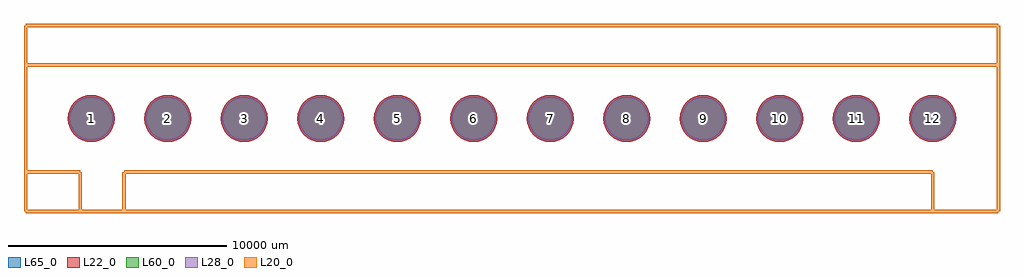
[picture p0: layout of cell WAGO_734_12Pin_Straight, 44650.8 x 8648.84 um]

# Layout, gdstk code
import gdstk
lib = gdstk.Library(unit=1e-6, precision=1e-09)
def P(c, l, *ps):  # polygons
    for p in ps: c.add(gdstk.Polygon(p, *l))
L20_0 = (20, 0)
L22_0 = (22, 0)
L28_0 = (28, 0)
L60_0 = (60, 0)
L65_0 = (65, 0)

wago_734_12pin_straight = lib.new_cell('WAGO_734_12Pin_Straight')
P(wago_734_12pin_straight, L22_0, [(20325.15,0),(20304.504,209.623),(20243.359,411.19),(20144.066,596.955),(20010.439,759.779),(19847.615,893.406),(19661.85,992.699),(19460.283,1053.844),(19250.66,1074.49),(19041.037,1053.844),(18839.47,992.699),(18653.705,893.406),(18490.881,759.779),(18357.254,596.955),(18257.961,411.19),(18196.816,209.623),(18176.17,0),(18196.816,-209.623),(18257.961,-411.19),(18357.254,-596.955),(18490.881,-759.779),(18653.705,-893.406),(18839.47,-992.699),(19041.037,-1053.844),(19250.66,-1074.49),(19460.283,-1053.844),(19661.85,-992.699),(19847.615,-893.406),(20010.439,-759.779),(20144.066,-596.955),(20243.359,-411.19),(20304.504,-209.623)],
  [(-18176.17,0),(-18196.816,209.623),(-18257.961,411.19),(-18357.254,596.955),(-18490.881,759.779),(-18653.705,893.406),(-18839.47,992.699),(-19041.037,1053.844),(-19250.66,1074.49),(-19460.283,1053.844),(-19661.85,992.699),(-19847.615,893.406),(-20010.439,759.779),(-20144.066,596.955),(-20243.359,411.19),(-20304.504,209.623),(-20325.15,0),(-20304.504,-209.623),(-20243.359,-411.19),(-20144.066,-596.955),(-20010.439,-759.779),(-19847.615,-893.406),(-19661.85,-992.699),(-19460.283,-1053.844),(-19250.66,-1074.49),(-19041.037,-1053.844),(-18839.47,-992.699),(-18653.705,-893.406),(-18490.881,-759.779),(-18357.254,-596.955),(-18257.961,-411.19),(-18196.816,-209.623)],
  [(-14676.05,0),(-14696.696,209.623),(-14757.841,411.19),(-14857.134,596.955),(-14990.761,759.779),(-15153.585,893.406),(-15339.35,992.699),(-15540.917,1053.844),(-15750.54,1074.49),(-15960.163,1053.844),(-16161.73,992.699),(-16347.495,893.406),(-16510.319,759.779),(-16643.946,596.955),(-16743.239,411.19),(-16804.384,209.623),(-16825.03,0),(-16804.384,-209.623),(-16743.239,-411.19),(-16643.946,-596.955),(-16510.319,-759.779),(-16347.495,-893.406),(-16161.73,-992.699),(-15960.163,-1053.844),(-15750.54,-1074.49),(-15540.917,-1053.844),(-15339.35,-992.699),(-15153.585,-893.406),(-14990.761,-759.779),(-14857.134,-596.955),(-14757.841,-411.19),(-14696.696,-209.623)],
  [(16825.03,0),(16804.384,209.623),(16743.239,411.19),(16643.946,596.955),(16510.319,759.779),(16347.495,893.406),(16161.73,992.699),(15960.163,1053.844),(15750.54,1074.49),(15540.917,1053.844),(15339.35,992.699),(15153.585,893.406),(14990.761,759.779),(14857.134,596.955),(14757.841,411.19),(14696.696,209.623),(14676.05,0),(14696.696,-209.623),(14757.841,-411.19),(14857.134,-596.955),(14990.761,-759.779),(15153.585,-893.406),(15339.35,-992.699),(15540.917,-1053.844),(15750.54,-1074.49),(15960.163,-1053.844),(16161.73,-992.699),(16347.495,-893.406),(16510.319,-759.779),(16643.946,-596.955),(16743.239,-411.19),(16804.384,-209.623)],
  [(13324.91,0),(13304.264,209.623),(13243.119,411.19),(13143.826,596.955),(13010.199,759.779),(12847.375,893.406),(12661.61,992.699),(12460.043,1053.844),(12250.42,1074.49),(12040.797,1053.844),(11839.23,992.699),(11653.465,893.406),(11490.641,759.779),(11357.014,596.955),(11257.721,411.19),(11196.576,209.623),(11175.93,0),(11196.576,-209.623),(11257.721,-411.19),(11357.014,-596.955),(11490.641,-759.779),(11653.465,-893.406),(11839.23,-992.699),(12040.797,-1053.844),(12250.42,-1074.49),(12460.043,-1053.844),(12661.61,-992.699),(12847.375,-893.406),(13010.199,-759.779),(13143.826,-596.955),(13243.119,-411.19),(13304.264,-209.623)],
  [(-11175.93,0),(-11196.576,209.623),(-11257.721,411.19),(-11357.014,596.955),(-11490.641,759.779),(-11653.465,893.406),(-11839.23,992.699),(-12040.797,1053.844),(-12250.42,1074.49),(-12460.043,1053.844),(-12661.61,992.699),(-12847.375,893.406),(-13010.199,759.779),(-13143.826,596.955),(-13243.119,411.19),(-13304.264,209.623),(-13324.91,0),(-13304.264,-209.623),(-13243.119,-411.19),(-13143.826,-596.955),(-13010.199,-759.779),(-12847.375,-893.406),(-12661.61,-992.699),(-12460.043,-1053.844),(-12250.42,-1074.49),(-12040.797,-1053.844),(-11839.23,-992.699),(-11653.465,-893.406),(-11490.641,-759.779),(-11357.014,-596.955),(-11257.721,-411.19),(-11196.576,-209.623)],
  [(9824.79,0),(9804.144,209.623),(9742.999,411.19),(9643.706,596.955),(9510.079,759.779),(9347.255,893.406),(9161.49,992.699),(8959.923,1053.844),(8750.3,1074.49),(8540.677,1053.844),(8339.11,992.699),(8153.345,893.406),(7990.521,759.779),(7856.894,596.955),(7757.601,411.19),(7696.456,209.623),(7675.81,0),(7696.456,-209.623),(7757.601,-411.19),(7856.894,-596.955),(7990.521,-759.779),(8153.345,-893.406),(8339.11,-992.699),(8540.677,-1053.844),(8750.3,-1074.49),(8959.923,-1053.844),(9161.49,-992.699),(9347.255,-893.406),(9510.079,-759.779),(9643.706,-596.955),(9742.999,-411.19),(9804.144,-209.623)],
  [(-7675.81,0),(-7696.456,209.623),(-7757.601,411.19),(-7856.894,596.955),(-7990.521,759.779),(-8153.345,893.406),(-8339.11,992.699),(-8540.677,1053.844),(-8750.3,1074.49),(-8959.923,1053.844),(-9161.49,992.699),(-9347.255,893.406),(-9510.079,759.779),(-9643.706,596.955),(-9742.999,411.19),(-9804.144,209.623),(-9824.79,0),(-9804.144,-209.623),(-9742.999,-411.19),(-9643.706,-596.955),(-9510.079,-759.779),(-9347.255,-893.406),(-9161.49,-992.699),(-8959.923,-1053.844),(-8750.3,-1074.49),(-8540.677,-1053.844),(-8339.11,-992.699),(-8153.345,-893.406),(-7990.521,-759.779),(-7856.894,-596.955),(-7757.601,-411.19),(-7696.456,-209.623)],
  [(6324.67,0),(6304.024,209.623),(6242.879,411.19),(6143.586,596.955),(6009.959,759.779),(5847.135,893.406),(5661.37,992.699),(5459.803,1053.844),(5250.18,1074.49),(5040.557,1053.844),(4838.99,992.699),(4653.225,893.406),(4490.401,759.779),(4356.774,596.955),(4257.481,411.19),(4196.336,209.623),(4175.69,0),(4196.336,-209.623),(4257.481,-411.19),(4356.774,-596.955),(4490.401,-759.779),(4653.225,-893.406),(4838.99,-992.699),(5040.557,-1053.844),(5250.18,-1074.49),(5459.803,-1053.844),(5661.37,-992.699),(5847.135,-893.406),(6009.959,-759.779),(6143.586,-596.955),(6242.879,-411.19),(6304.024,-209.623)],
  [(2824.55,0),(2803.904,209.623),(2742.759,411.19),(2643.466,596.955),(2509.839,759.779),(2347.015,893.406),(2161.25,992.699),(1959.683,1053.844),(1750.06,1074.49),(1540.437,1053.844),(1338.87,992.699),(1153.105,893.406),(990.281,759.779),(856.654,596.955),(757.361,411.19),(696.216,209.623),(675.57,0),(696.216,-209.623),(757.361,-411.19),(856.654,-596.955),(990.281,-759.779),(1153.105,-893.406),(1338.87,-992.699),(1540.437,-1053.844),(1750.06,-1074.49),(1959.683,-1053.844),(2161.25,-992.699),(2347.015,-893.406),(2509.839,-759.779),(2643.466,-596.955),(2742.759,-411.19),(2803.904,-209.623)],
  [(-4175.69,0),(-4196.336,209.623),(-4257.481,411.19),(-4356.774,596.955),(-4490.401,759.779),(-4653.225,893.406),(-4838.99,992.699),(-5040.557,1053.844),(-5250.18,1074.49),(-5459.803,1053.844),(-5661.37,992.699),(-5847.135,893.406),(-6009.959,759.779),(-6143.586,596.955),(-6242.879,411.19),(-6304.024,209.623),(-6324.67,0),(-6304.024,-209.623),(-6242.879,-411.19),(-6143.586,-596.955),(-6009.959,-759.779),(-5847.135,-893.406),(-5661.37,-992.699),(-5459.803,-1053.844),(-5250.18,-1074.49),(-5040.557,-1053.844),(-4838.99,-992.699),(-4653.225,-893.406),(-4490.401,-759.779),(-4356.774,-596.955),(-4257.481,-411.19),(-4196.336,-209.623)],
  [(-675.57,0),(-696.216,209.623),(-757.361,411.19),(-856.654,596.955),(-990.281,759.779),(-1153.105,893.406),(-1338.87,992.699),(-1540.437,1053.844),(-1750.06,1074.49),(-1959.683,1053.844),(-2161.25,992.699),(-2347.015,893.406),(-2509.839,759.779),(-2643.466,596.955),(-2742.759,411.19),(-2803.904,209.623),(-2824.55,0),(-2803.904,-209.623),(-2742.759,-411.19),(-2643.466,-596.955),(-2509.839,-759.779),(-2347.015,-893.406),(-2161.25,-992.699),(-1959.683,-1053.844),(-1750.06,-1074.49),(-1540.437,-1053.844),(-1338.87,-992.699),(-1153.105,-893.406),(-990.281,-759.779),(-856.654,-596.955),(-757.361,-411.19),(-696.216,-209.623)])
P(wago_734_12pin_straight, L28_0, [(20250.15,0),(20230.945,194.991),(20174.068,382.488),(20081.706,555.287),(19957.406,706.746),(19805.947,831.046),(19633.148,923.408),(19445.651,980.285),(19250.66,999.49),(19055.669,980.285),(18868.172,923.408),(18695.373,831.046),(18543.914,706.746),(18419.614,555.287),(18327.252,382.488),(18270.375,194.991),(18251.17,0),(18270.375,-194.991),(18327.252,-382.488),(18419.614,-555.287),(18543.914,-706.746),(18695.373,-831.046),(18868.172,-923.408),(19055.669,-980.285),(19250.66,-999.49),(19445.651,-980.285),(19633.148,-923.408),(19805.947,-831.046),(19957.406,-706.746),(20081.706,-555.287),(20174.068,-382.488),(20230.945,-194.991)],
  [(-18251.17,0),(-18270.375,194.991),(-18327.252,382.488),(-18419.614,555.287),(-18543.914,706.746),(-18695.373,831.046),(-18868.172,923.408),(-19055.669,980.285),(-19250.66,999.49),(-19445.651,980.285),(-19633.148,923.408),(-19805.947,831.046),(-19957.406,706.746),(-20081.706,555.287),(-20174.068,382.488),(-20230.945,194.991),(-20250.15,0),(-20230.945,-194.991),(-20174.068,-382.488),(-20081.706,-555.287),(-19957.406,-706.746),(-19805.947,-831.046),(-19633.148,-923.408),(-19445.651,-980.285),(-19250.66,-999.49),(-19055.669,-980.285),(-18868.172,-923.408),(-18695.373,-831.046),(-18543.914,-706.746),(-18419.614,-555.287),(-18327.252,-382.488),(-18270.375,-194.991)],
  [(-14751.05,0),(-14770.255,194.991),(-14827.132,382.488),(-14919.494,555.287),(-15043.794,706.746),(-15195.253,831.046),(-15368.052,923.408),(-15555.549,980.285),(-15750.54,999.49),(-15945.531,980.285),(-16133.028,923.408),(-16305.827,831.046),(-16457.286,706.746),(-16581.586,555.287),(-16673.948,382.488),(-16730.825,194.991),(-16750.03,0),(-16730.825,-194.991),(-16673.948,-382.488),(-16581.586,-555.287),(-16457.286,-706.746),(-16305.827,-831.046),(-16133.028,-923.408),(-15945.531,-980.285),(-15750.54,-999.49),(-15555.549,-980.285),(-15368.052,-923.408),(-15195.253,-831.046),(-15043.794,-706.746),(-14919.494,-555.287),(-14827.132,-382.488),(-14770.255,-194.991)],
  [(16750.03,0),(16730.825,194.991),(16673.948,382.488),(16581.586,555.287),(16457.286,706.746),(16305.827,831.046),(16133.028,923.408),(15945.531,980.285),(15750.54,999.49),(15555.549,980.285),(15368.052,923.408),(15195.253,831.046),(15043.794,706.746),(14919.494,555.287),(14827.132,382.488),(14770.255,194.991),(14751.05,0),(14770.255,-194.991),(14827.132,-382.488),(14919.494,-555.287),(15043.794,-706.746),(15195.253,-831.046),(15368.052,-923.408),(15555.549,-980.285),(15750.54,-999.49),(15945.531,-980.285),(16133.028,-923.408),(16305.827,-831.046),(16457.286,-706.746),(16581.586,-555.287),(16673.948,-382.488),(16730.825,-194.991)],
  [(13249.91,0),(13230.705,194.991),(13173.828,382.488),(13081.466,555.287),(12957.166,706.746),(12805.707,831.046),(12632.908,923.408),(12445.411,980.285),(12250.42,999.49),(12055.429,980.285),(11867.932,923.408),(11695.133,831.046),(11543.674,706.746),(11419.374,555.287),(11327.012,382.488),(11270.135,194.991),(11250.93,0),(11270.135,-194.991),(11327.012,-382.488),(11419.374,-555.287),(11543.674,-706.746),(11695.133,-831.046),(11867.932,-923.408),(12055.429,-980.285),(12250.42,-999.49),(12445.411,-980.285),(12632.908,-923.408),(12805.707,-831.046),(12957.166,-706.746),(13081.466,-555.287),(13173.828,-382.488),(13230.705,-194.991)],
  [(-11250.93,0),(-11270.135,194.991),(-11327.012,382.488),(-11419.374,555.287),(-11543.674,706.746),(-11695.133,831.046),(-11867.932,923.408),(-12055.429,980.285),(-12250.42,999.49),(-12445.411,980.285),(-12632.908,923.408),(-12805.707,831.046),(-12957.166,706.746),(-13081.466,555.287),(-13173.828,382.488),(-13230.705,194.991),(-13249.91,0),(-13230.705,-194.991),(-13173.828,-382.488),(-13081.466,-555.287),(-12957.166,-706.746),(-12805.707,-831.046),(-12632.908,-923.408),(-12445.411,-980.285),(-12250.42,-999.49),(-12055.429,-980.285),(-11867.932,-923.408),(-11695.133,-831.046),(-11543.674,-706.746),(-11419.374,-555.287),(-11327.012,-382.488),(-11270.135,-194.991)],
  [(9749.79,0),(9730.585,194.991),(9673.708,382.488),(9581.346,555.287),(9457.046,706.746),(9305.587,831.046),(9132.788,923.408),(8945.291,980.285),(8750.3,999.49),(8555.309,980.285),(8367.812,923.408),(8195.013,831.046),(8043.554,706.746),(7919.254,555.287),(7826.892,382.488),(7770.015,194.991),(7750.81,0),(7770.015,-194.991),(7826.892,-382.488),(7919.254,-555.287),(8043.554,-706.746),(8195.013,-831.046),(8367.812,-923.408),(8555.309,-980.285),(8750.3,-999.49),(8945.291,-980.285),(9132.788,-923.408),(9305.587,-831.046),(9457.046,-706.746),(9581.346,-555.287),(9673.708,-382.488),(9730.585,-194.991)],
  [(-7750.81,0),(-7770.015,194.991),(-7826.892,382.488),(-7919.254,555.287),(-8043.554,706.746),(-8195.013,831.046),(-8367.812,923.408),(-8555.309,980.285),(-8750.3,999.49),(-8945.291,980.285),(-9132.788,923.408),(-9305.587,831.046),(-9457.046,706.746),(-9581.346,555.287),(-9673.708,382.488),(-9730.585,194.991),(-9749.79,0),(-9730.585,-194.991),(-9673.708,-382.488),(-9581.346,-555.287),(-9457.046,-706.746),(-9305.587,-831.046),(-9132.788,-923.408),(-8945.291,-980.285),(-8750.3,-999.49),(-8555.309,-980.285),(-8367.812,-923.408),(-8195.013,-831.046),(-8043.554,-706.746),(-7919.254,-555.287),(-7826.892,-382.488),(-7770.015,-194.991)],
  [(6249.67,0),(6230.465,194.991),(6173.588,382.488),(6081.226,555.287),(5956.926,706.746),(5805.467,831.046),(5632.668,923.408),(5445.171,980.285),(5250.18,999.49),(5055.189,980.285),(4867.692,923.408),(4694.893,831.046),(4543.434,706.746),(4419.134,555.287),(4326.772,382.488),(4269.895,194.991),(4250.69,0),(4269.895,-194.991),(4326.772,-382.488),(4419.134,-555.287),(4543.434,-706.746),(4694.893,-831.046),(4867.692,-923.408),(5055.189,-980.285),(5250.18,-999.49),(5445.171,-980.285),(5632.668,-923.408),(5805.467,-831.046),(5956.926,-706.746),(6081.226,-555.287),(6173.588,-382.488),(6230.465,-194.991)],
  [(2749.55,0),(2730.345,194.991),(2673.468,382.488),(2581.106,555.287),(2456.806,706.746),(2305.347,831.046),(2132.548,923.408),(1945.051,980.285),(1750.06,999.49),(1555.069,980.285),(1367.572,923.408),(1194.773,831.046),(1043.314,706.746),(919.014,555.287),(826.652,382.488),(769.775,194.991),(750.57,0),(769.775,-194.991),(826.652,-382.488),(919.014,-555.287),(1043.314,-706.746),(1194.773,-831.046),(1367.572,-923.408),(1555.069,-980.285),(1750.06,-999.49),(1945.051,-980.285),(2132.548,-923.408),(2305.347,-831.046),(2456.806,-706.746),(2581.106,-555.287),(2673.468,-382.488),(2730.345,-194.991)],
  [(-4250.69,0),(-4269.895,194.991),(-4326.772,382.488),(-4419.134,555.287),(-4543.434,706.746),(-4694.893,831.046),(-4867.692,923.408),(-5055.189,980.285),(-5250.18,999.49),(-5445.171,980.285),(-5632.668,923.408),(-5805.467,831.046),(-5956.926,706.746),(-6081.226,555.287),(-6173.588,382.488),(-6230.465,194.991),(-6249.67,0),(-6230.465,-194.991),(-6173.588,-382.488),(-6081.226,-555.287),(-5956.926,-706.746),(-5805.467,-831.046),(-5632.668,-923.408),(-5445.171,-980.285),(-5250.18,-999.49),(-5055.189,-980.285),(-4867.692,-923.408),(-4694.893,-831.046),(-4543.434,-706.746),(-4419.134,-555.287),(-4326.772,-382.488),(-4269.895,-194.991)],
  [(-750.57,0),(-769.775,194.991),(-826.652,382.488),(-919.014,555.287),(-1043.314,706.746),(-1194.773,831.046),(-1367.572,923.408),(-1555.069,980.285),(-1750.06,999.49),(-1945.051,980.285),(-2132.548,923.408),(-2305.347,831.046),(-2456.806,706.746),(-2581.106,555.287),(-2673.468,382.488),(-2730.345,194.991),(-2749.55,0),(-2730.345,-194.991),(-2673.468,-382.488),(-2581.106,-555.287),(-2456.806,-706.746),(-2305.347,-831.046),(-2132.548,-923.408),(-1945.051,-980.285),(-1750.06,-999.49),(-1555.069,-980.285),(-1367.572,-923.408),(-1194.773,-831.046),(-1043.314,-706.746),(-919.014,-555.287),(-826.652,-382.488),(-769.775,-194.991)])
P(wago_734_12pin_straight, L60_0, [(20250.15,0),(20230.945,194.991),(20174.068,382.488),(20081.706,555.287),(19957.406,706.746),(19805.947,831.046),(19633.148,923.408),(19445.651,980.285),(19250.66,999.49),(19055.669,980.285),(18868.172,923.408),(18695.373,831.046),(18543.914,706.746),(18419.614,555.287),(18327.252,382.488),(18270.375,194.991),(18251.17,0),(18270.375,-194.991),(18327.252,-382.488),(18419.614,-555.287),(18543.914,-706.746),(18695.373,-831.046),(18868.172,-923.408),(19055.669,-980.285),(19250.66,-999.49),(19445.651,-980.285),(19633.148,-923.408),(19805.947,-831.046),(19957.406,-706.746),(20081.706,-555.287),(20174.068,-382.488),(20230.945,-194.991)],
  [(-18251.17,0),(-18270.375,194.991),(-18327.252,382.488),(-18419.614,555.287),(-18543.914,706.746),(-18695.373,831.046),(-18868.172,923.408),(-19055.669,980.285),(-19250.66,999.49),(-19445.651,980.285),(-19633.148,923.408),(-19805.947,831.046),(-19957.406,706.746),(-20081.706,555.287),(-20174.068,382.488),(-20230.945,194.991),(-20250.15,0),(-20230.945,-194.991),(-20174.068,-382.488),(-20081.706,-555.287),(-19957.406,-706.746),(-19805.947,-831.046),(-19633.148,-923.408),(-19445.651,-980.285),(-19250.66,-999.49),(-19055.669,-980.285),(-18868.172,-923.408),(-18695.373,-831.046),(-18543.914,-706.746),(-18419.614,-555.287),(-18327.252,-382.488),(-18270.375,-194.991)],
  [(-14751.05,0),(-14770.255,194.991),(-14827.132,382.488),(-14919.494,555.287),(-15043.794,706.746),(-15195.253,831.046),(-15368.052,923.408),(-15555.549,980.285),(-15750.54,999.49),(-15945.531,980.285),(-16133.028,923.408),(-16305.827,831.046),(-16457.286,706.746),(-16581.586,555.287),(-16673.948,382.488),(-16730.825,194.991),(-16750.03,0),(-16730.825,-194.991),(-16673.948,-382.488),(-16581.586,-555.287),(-16457.286,-706.746),(-16305.827,-831.046),(-16133.028,-923.408),(-15945.531,-980.285),(-15750.54,-999.49),(-15555.549,-980.285),(-15368.052,-923.408),(-15195.253,-831.046),(-15043.794,-706.746),(-14919.494,-555.287),(-14827.132,-382.488),(-14770.255,-194.991)],
  [(16750.03,0),(16730.825,194.991),(16673.948,382.488),(16581.586,555.287),(16457.286,706.746),(16305.827,831.046),(16133.028,923.408),(15945.531,980.285),(15750.54,999.49),(15555.549,980.285),(15368.052,923.408),(15195.253,831.046),(15043.794,706.746),(14919.494,555.287),(14827.132,382.488),(14770.255,194.991),(14751.05,0),(14770.255,-194.991),(14827.132,-382.488),(14919.494,-555.287),(15043.794,-706.746),(15195.253,-831.046),(15368.052,-923.408),(15555.549,-980.285),(15750.54,-999.49),(15945.531,-980.285),(16133.028,-923.408),(16305.827,-831.046),(16457.286,-706.746),(16581.586,-555.287),(16673.948,-382.488),(16730.825,-194.991)],
  [(13249.91,0),(13230.705,194.991),(13173.828,382.488),(13081.466,555.287),(12957.166,706.746),(12805.707,831.046),(12632.908,923.408),(12445.411,980.285),(12250.42,999.49),(12055.429,980.285),(11867.932,923.408),(11695.133,831.046),(11543.674,706.746),(11419.374,555.287),(11327.012,382.488),(11270.135,194.991),(11250.93,0),(11270.135,-194.991),(11327.012,-382.488),(11419.374,-555.287),(11543.674,-706.746),(11695.133,-831.046),(11867.932,-923.408),(12055.429,-980.285),(12250.42,-999.49),(12445.411,-980.285),(12632.908,-923.408),(12805.707,-831.046),(12957.166,-706.746),(13081.466,-555.287),(13173.828,-382.488),(13230.705,-194.991)],
  [(-11250.93,0),(-11270.135,194.991),(-11327.012,382.488),(-11419.374,555.287),(-11543.674,706.746),(-11695.133,831.046),(-11867.932,923.408),(-12055.429,980.285),(-12250.42,999.49),(-12445.411,980.285),(-12632.908,923.408),(-12805.707,831.046),(-12957.166,706.746),(-13081.466,555.287),(-13173.828,382.488),(-13230.705,194.991),(-13249.91,0),(-13230.705,-194.991),(-13173.828,-382.488),(-13081.466,-555.287),(-12957.166,-706.746),(-12805.707,-831.046),(-12632.908,-923.408),(-12445.411,-980.285),(-12250.42,-999.49),(-12055.429,-980.285),(-11867.932,-923.408),(-11695.133,-831.046),(-11543.674,-706.746),(-11419.374,-555.287),(-11327.012,-382.488),(-11270.135,-194.991)],
  [(9749.79,0),(9730.585,194.991),(9673.708,382.488),(9581.346,555.287),(9457.046,706.746),(9305.587,831.046),(9132.788,923.408),(8945.291,980.285),(8750.3,999.49),(8555.309,980.285),(8367.812,923.408),(8195.013,831.046),(8043.554,706.746),(7919.254,555.287),(7826.892,382.488),(7770.015,194.991),(7750.81,0),(7770.015,-194.991),(7826.892,-382.488),(7919.254,-555.287),(8043.554,-706.746),(8195.013,-831.046),(8367.812,-923.408),(8555.309,-980.285),(8750.3,-999.49),(8945.291,-980.285),(9132.788,-923.408),(9305.587,-831.046),(9457.046,-706.746),(9581.346,-555.287),(9673.708,-382.488),(9730.585,-194.991)],
  [(-7750.81,0),(-7770.015,194.991),(-7826.892,382.488),(-7919.254,555.287),(-8043.554,706.746),(-8195.013,831.046),(-8367.812,923.408),(-8555.309,980.285),(-8750.3,999.49),(-8945.291,980.285),(-9132.788,923.408),(-9305.587,831.046),(-9457.046,706.746),(-9581.346,555.287),(-9673.708,382.488),(-9730.585,194.991),(-9749.79,0),(-9730.585,-194.991),(-9673.708,-382.488),(-9581.346,-555.287),(-9457.046,-706.746),(-9305.587,-831.046),(-9132.788,-923.408),(-8945.291,-980.285),(-8750.3,-999.49),(-8555.309,-980.285),(-8367.812,-923.408),(-8195.013,-831.046),(-8043.554,-706.746),(-7919.254,-555.287),(-7826.892,-382.488),(-7770.015,-194.991)],
  [(6249.67,0),(6230.465,194.991),(6173.588,382.488),(6081.226,555.287),(5956.926,706.746),(5805.467,831.046),(5632.668,923.408),(5445.171,980.285),(5250.18,999.49),(5055.189,980.285),(4867.692,923.408),(4694.893,831.046),(4543.434,706.746),(4419.134,555.287),(4326.772,382.488),(4269.895,194.991),(4250.69,0),(4269.895,-194.991),(4326.772,-382.488),(4419.134,-555.287),(4543.434,-706.746),(4694.893,-831.046),(4867.692,-923.408),(5055.189,-980.285),(5250.18,-999.49),(5445.171,-980.285),(5632.668,-923.408),(5805.467,-831.046),(5956.926,-706.746),(6081.226,-555.287),(6173.588,-382.488),(6230.465,-194.991)],
  [(2749.55,0),(2730.345,194.991),(2673.468,382.488),(2581.106,555.287),(2456.806,706.746),(2305.347,831.046),(2132.548,923.408),(1945.051,980.285),(1750.06,999.49),(1555.069,980.285),(1367.572,923.408),(1194.773,831.046),(1043.314,706.746),(919.014,555.287),(826.652,382.488),(769.775,194.991),(750.57,0),(769.775,-194.991),(826.652,-382.488),(919.014,-555.287),(1043.314,-706.746),(1194.773,-831.046),(1367.572,-923.408),(1555.069,-980.285),(1750.06,-999.49),(1945.051,-980.285),(2132.548,-923.408),(2305.347,-831.046),(2456.806,-706.746),(2581.106,-555.287),(2673.468,-382.488),(2730.345,-194.991)],
  [(-4250.69,0),(-4269.895,194.991),(-4326.772,382.488),(-4419.134,555.287),(-4543.434,706.746),(-4694.893,831.046),(-4867.692,923.408),(-5055.189,980.285),(-5250.18,999.49),(-5445.171,980.285),(-5632.668,923.408),(-5805.467,831.046),(-5956.926,706.746),(-6081.226,555.287),(-6173.588,382.488),(-6230.465,194.991),(-6249.67,0),(-6230.465,-194.991),(-6173.588,-382.488),(-6081.226,-555.287),(-5956.926,-706.746),(-5805.467,-831.046),(-5632.668,-923.408),(-5445.171,-980.285),(-5250.18,-999.49),(-5055.189,-980.285),(-4867.692,-923.408),(-4694.893,-831.046),(-4543.434,-706.746),(-4419.134,-555.287),(-4326.772,-382.488),(-4269.895,-194.991)],
  [(-750.57,0),(-769.775,194.991),(-826.652,382.488),(-919.014,555.287),(-1043.314,706.746),(-1194.773,831.046),(-1367.572,923.408),(-1555.069,980.285),(-1750.06,999.49),(-1945.051,980.285),(-2132.548,923.408),(-2305.347,831.046),(-2456.806,706.746),(-2581.106,555.287),(-2673.468,382.488),(-2730.345,194.991),(-2749.55,0),(-2730.345,-194.991),(-2673.468,-382.488),(-2581.106,-555.287),(-2456.806,-706.746),(-2305.347,-831.046),(-2132.548,-923.408),(-1945.051,-980.285),(-1750.06,-999.49),(-1555.069,-980.285),(-1367.572,-923.408),(-1194.773,-831.046),(-1043.314,-706.746),(-919.014,-555.287),(-826.652,-382.488),(-769.775,-194.991)])
P(wago_734_12pin_straight, L65_0, [(20325.15,0),(20304.504,209.623),(20243.359,411.19),(20144.066,596.955),(20010.439,759.779),(19847.615,893.406),(19661.85,992.699),(19460.283,1053.844),(19250.66,1074.49),(19041.037,1053.844),(18839.47,992.699),(18653.705,893.406),(18490.881,759.779),(18357.254,596.955),(18257.961,411.19),(18196.816,209.623),(18176.17,0),(18196.816,-209.623),(18257.961,-411.19),(18357.254,-596.955),(18490.881,-759.779),(18653.705,-893.406),(18839.47,-992.699),(19041.037,-1053.844),(19250.66,-1074.49),(19460.283,-1053.844),(19661.85,-992.699),(19847.615,-893.406),(20010.439,-759.779),(20144.066,-596.955),(20243.359,-411.19),(20304.504,-209.623)],
  [(-18176.17,0),(-18196.816,209.623),(-18257.961,411.19),(-18357.254,596.955),(-18490.881,759.779),(-18653.705,893.406),(-18839.47,992.699),(-19041.037,1053.844),(-19250.66,1074.49),(-19460.283,1053.844),(-19661.85,992.699),(-19847.615,893.406),(-20010.439,759.779),(-20144.066,596.955),(-20243.359,411.19),(-20304.504,209.623),(-20325.15,0),(-20304.504,-209.623),(-20243.359,-411.19),(-20144.066,-596.955),(-20010.439,-759.779),(-19847.615,-893.406),(-19661.85,-992.699),(-19460.283,-1053.844),(-19250.66,-1074.49),(-19041.037,-1053.844),(-18839.47,-992.699),(-18653.705,-893.406),(-18490.881,-759.779),(-18357.254,-596.955),(-18257.961,-411.19),(-18196.816,-209.623)],
  [(-14676.05,0),(-14696.696,209.623),(-14757.841,411.19),(-14857.134,596.955),(-14990.761,759.779),(-15153.585,893.406),(-15339.35,992.699),(-15540.917,1053.844),(-15750.54,1074.49),(-15960.163,1053.844),(-16161.73,992.699),(-16347.495,893.406),(-16510.319,759.779),(-16643.946,596.955),(-16743.239,411.19),(-16804.384,209.623),(-16825.03,0),(-16804.384,-209.623),(-16743.239,-411.19),(-16643.946,-596.955),(-16510.319,-759.779),(-16347.495,-893.406),(-16161.73,-992.699),(-15960.163,-1053.844),(-15750.54,-1074.49),(-15540.917,-1053.844),(-15339.35,-992.699),(-15153.585,-893.406),(-14990.761,-759.779),(-14857.134,-596.955),(-14757.841,-411.19),(-14696.696,-209.623)],
  [(16825.03,0),(16804.384,209.623),(16743.239,411.19),(16643.946,596.955),(16510.319,759.779),(16347.495,893.406),(16161.73,992.699),(15960.163,1053.844),(15750.54,1074.49),(15540.917,1053.844),(15339.35,992.699),(15153.585,893.406),(14990.761,759.779),(14857.134,596.955),(14757.841,411.19),(14696.696,209.623),(14676.05,0),(14696.696,-209.623),(14757.841,-411.19),(14857.134,-596.955),(14990.761,-759.779),(15153.585,-893.406),(15339.35,-992.699),(15540.917,-1053.844),(15750.54,-1074.49),(15960.163,-1053.844),(16161.73,-992.699),(16347.495,-893.406),(16510.319,-759.779),(16643.946,-596.955),(16743.239,-411.19),(16804.384,-209.623)],
  [(13324.91,0),(13304.264,209.623),(13243.119,411.19),(13143.826,596.955),(13010.199,759.779),(12847.375,893.406),(12661.61,992.699),(12460.043,1053.844),(12250.42,1074.49),(12040.797,1053.844),(11839.23,992.699),(11653.465,893.406),(11490.641,759.779),(11357.014,596.955),(11257.721,411.19),(11196.576,209.623),(11175.93,0),(11196.576,-209.623),(11257.721,-411.19),(11357.014,-596.955),(11490.641,-759.779),(11653.465,-893.406),(11839.23,-992.699),(12040.797,-1053.844),(12250.42,-1074.49),(12460.043,-1053.844),(12661.61,-992.699),(12847.375,-893.406),(13010.199,-759.779),(13143.826,-596.955),(13243.119,-411.19),(13304.264,-209.623)],
  [(-11175.93,0),(-11196.576,209.623),(-11257.721,411.19),(-11357.014,596.955),(-11490.641,759.779),(-11653.465,893.406),(-11839.23,992.699),(-12040.797,1053.844),(-12250.42,1074.49),(-12460.043,1053.844),(-12661.61,992.699),(-12847.375,893.406),(-13010.199,759.779),(-13143.826,596.955),(-13243.119,411.19),(-13304.264,209.623),(-13324.91,0),(-13304.264,-209.623),(-13243.119,-411.19),(-13143.826,-596.955),(-13010.199,-759.779),(-12847.375,-893.406),(-12661.61,-992.699),(-12460.043,-1053.844),(-12250.42,-1074.49),(-12040.797,-1053.844),(-11839.23,-992.699),(-11653.465,-893.406),(-11490.641,-759.779),(-11357.014,-596.955),(-11257.721,-411.19),(-11196.576,-209.623)],
  [(9824.79,0),(9804.144,209.623),(9742.999,411.19),(9643.706,596.955),(9510.079,759.779),(9347.255,893.406),(9161.49,992.699),(8959.923,1053.844),(8750.3,1074.49),(8540.677,1053.844),(8339.11,992.699),(8153.345,893.406),(7990.521,759.779),(7856.894,596.955),(7757.601,411.19),(7696.456,209.623),(7675.81,0),(7696.456,-209.623),(7757.601,-411.19),(7856.894,-596.955),(7990.521,-759.779),(8153.345,-893.406),(8339.11,-992.699),(8540.677,-1053.844),(8750.3,-1074.49),(8959.923,-1053.844),(9161.49,-992.699),(9347.255,-893.406),(9510.079,-759.779),(9643.706,-596.955),(9742.999,-411.19),(9804.144,-209.623)],
  [(-7675.81,0),(-7696.456,209.623),(-7757.601,411.19),(-7856.894,596.955),(-7990.521,759.779),(-8153.345,893.406),(-8339.11,992.699),(-8540.677,1053.844),(-8750.3,1074.49),(-8959.923,1053.844),(-9161.49,992.699),(-9347.255,893.406),(-9510.079,759.779),(-9643.706,596.955),(-9742.999,411.19),(-9804.144,209.623),(-9824.79,0),(-9804.144,-209.623),(-9742.999,-411.19),(-9643.706,-596.955),(-9510.079,-759.779),(-9347.255,-893.406),(-9161.49,-992.699),(-8959.923,-1053.844),(-8750.3,-1074.49),(-8540.677,-1053.844),(-8339.11,-992.699),(-8153.345,-893.406),(-7990.521,-759.779),(-7856.894,-596.955),(-7757.601,-411.19),(-7696.456,-209.623)],
  [(6324.67,0),(6304.024,209.623),(6242.879,411.19),(6143.586,596.955),(6009.959,759.779),(5847.135,893.406),(5661.37,992.699),(5459.803,1053.844),(5250.18,1074.49),(5040.557,1053.844),(4838.99,992.699),(4653.225,893.406),(4490.401,759.779),(4356.774,596.955),(4257.481,411.19),(4196.336,209.623),(4175.69,0),(4196.336,-209.623),(4257.481,-411.19),(4356.774,-596.955),(4490.401,-759.779),(4653.225,-893.406),(4838.99,-992.699),(5040.557,-1053.844),(5250.18,-1074.49),(5459.803,-1053.844),(5661.37,-992.699),(5847.135,-893.406),(6009.959,-759.779),(6143.586,-596.955),(6242.879,-411.19),(6304.024,-209.623)],
  [(2824.55,0),(2803.904,209.623),(2742.759,411.19),(2643.466,596.955),(2509.839,759.779),(2347.015,893.406),(2161.25,992.699),(1959.683,1053.844),(1750.06,1074.49),(1540.437,1053.844),(1338.87,992.699),(1153.105,893.406),(990.281,759.779),(856.654,596.955),(757.361,411.19),(696.216,209.623),(675.57,0),(696.216,-209.623),(757.361,-411.19),(856.654,-596.955),(990.281,-759.779),(1153.105,-893.406),(1338.87,-992.699),(1540.437,-1053.844),(1750.06,-1074.49),(1959.683,-1053.844),(2161.25,-992.699),(2347.015,-893.406),(2509.839,-759.779),(2643.466,-596.955),(2742.759,-411.19),(2803.904,-209.623)],
  [(-4175.69,0),(-4196.336,209.623),(-4257.481,411.19),(-4356.774,596.955),(-4490.401,759.779),(-4653.225,893.406),(-4838.99,992.699),(-5040.557,1053.844),(-5250.18,1074.49),(-5459.803,1053.844),(-5661.37,992.699),(-5847.135,893.406),(-6009.959,759.779),(-6143.586,596.955),(-6242.879,411.19),(-6304.024,209.623),(-6324.67,0),(-6304.024,-209.623),(-6242.879,-411.19),(-6143.586,-596.955),(-6009.959,-759.779),(-5847.135,-893.406),(-5661.37,-992.699),(-5459.803,-1053.844),(-5250.18,-1074.49),(-5040.557,-1053.844),(-4838.99,-992.699),(-4653.225,-893.406),(-4490.401,-759.779),(-4356.774,-596.955),(-4257.481,-411.19),(-4196.336,-209.623)],
  [(-675.57,0),(-696.216,209.623),(-757.361,411.19),(-856.654,596.955),(-990.281,759.779),(-1153.105,893.406),(-1338.87,992.699),(-1540.437,1053.844),(-1750.06,1074.49),(-1959.683,1053.844),(-2161.25,992.699),(-2347.015,893.406),(-2509.839,759.779),(-2643.466,596.955),(-2742.759,411.19),(-2803.904,209.623),(-2824.55,0),(-2803.904,-209.623),(-2742.759,-411.19),(-2643.466,-596.955),(-2509.839,-759.779),(-2347.015,-893.406),(-2161.25,-992.699),(-1959.683,-1053.844),(-1750.06,-1074.49),(-1540.437,-1053.844),(-1338.87,-992.699),(-1153.105,-893.406),(-990.281,-759.779),(-856.654,-596.955),(-757.361,-411.19),(-696.216,-209.623)])
wago_734_12pin_straight.add(gdstk.FlexPath([(-22250.4,-4249.42),(0,-4249.42)], 149.998, ends="flush", simple_path=True, layer=20, datatype=0))  # L20_0
wago_734_12pin_straight.add(gdstk.FlexPath([(-22250.4,4249.42),(-22250.4,-4249.42)], 149.998, ends="flush", simple_path=True, layer=20, datatype=0))  # L20_0
wago_734_12pin_straight.add(gdstk.FlexPath([(22250.4,4249.42),(-22250.4,4249.42)], 149.998, ends="flush", simple_path=True, layer=20, datatype=0))  # L20_0
wago_734_12pin_straight.add(gdstk.FlexPath([(22250.4,-4249.42),(22250.4,4249.42)], 149.998, ends="flush", simple_path=True, layer=20, datatype=0))  # L20_0
wago_734_12pin_straight.add(gdstk.FlexPath([(0,-4249.42),(22250.4,-4249.42)], 149.998, ends="flush", simple_path=True, layer=20, datatype=0))  # L20_0
wago_734_12pin_straight.add(gdstk.FlexPath([(-19751.04,-2451.1),(-19751.04,-4249.42)], 149.998, ends="flush", simple_path=True, layer=20, datatype=0))  # L20_0
wago_734_12pin_straight.add(gdstk.FlexPath([(-22250.4,-2451.1),(-19751.04,-2451.1)], 149.998, ends="flush", simple_path=True, layer=20, datatype=0))  # L20_0
wago_734_12pin_straight.add(gdstk.FlexPath([(-17749.52,-4249.42),(-17749.52,-2451.1)], 149.998, ends="flush", simple_path=True, layer=20, datatype=0))  # L20_0
wago_734_12pin_straight.add(gdstk.FlexPath([(19250.66,-2451.1),(-17749.52,-2451.1)], 149.998, ends="flush", simple_path=True, layer=20, datatype=0))  # L20_0
wago_734_12pin_straight.add(gdstk.FlexPath([(19250.66,-4249.42),(19250.66,-2451.1)], 149.998, ends="flush", simple_path=True, layer=20, datatype=0))  # L20_0
wago_734_12pin_straight.add(gdstk.FlexPath([(-22250.4,2451.1),(22250.4,2451.1)], 149.998, ends="flush", simple_path=True, layer=20, datatype=0))  # L20_0
wago_734_12pin_straight.add(gdstk.Label('12', (19250.66,0), layer=28, texttype=0))
wago_734_12pin_straight.add(gdstk.Label('1', (-19250.66,0), layer=28, texttype=0))
wago_734_12pin_straight.add(gdstk.Label('2', (-15750.54,0), layer=28, texttype=0))
wago_734_12pin_straight.add(gdstk.Label('11', (15750.54,0), layer=28, texttype=0))
wago_734_12pin_straight.add(gdstk.Label('10', (12250.42,0), layer=28, texttype=0))
wago_734_12pin_straight.add(gdstk.Label('3', (-12250.42,0), layer=28, texttype=0))
wago_734_12pin_straight.add(gdstk.Label('9', (8750.3,0), layer=28, texttype=0))
wago_734_12pin_straight.add(gdstk.Label('4', (-8750.3,0), layer=28, texttype=0))
wago_734_12pin_straight.add(gdstk.Label('8', (5250.18,0), layer=28, texttype=0))
wago_734_12pin_straight.add(gdstk.Label('7', (1750.06,0), layer=28, texttype=0))
wago_734_12pin_straight.add(gdstk.Label('5', (-5250.18,0), layer=28, texttype=0))
wago_734_12pin_straight.add(gdstk.Label('6', (-1750.06,0), layer=28, texttype=0))
wago_734_12pin_straight.add(gdstk.Label('type', (0,-6350), layer=9, texttype=0))
wago_734_12pin_straight.add(gdstk.Label('devicename', (0,6350), layer=9, texttype=0))

lib.write_gds('WAGO_734_12Pin_Straight.gds')
